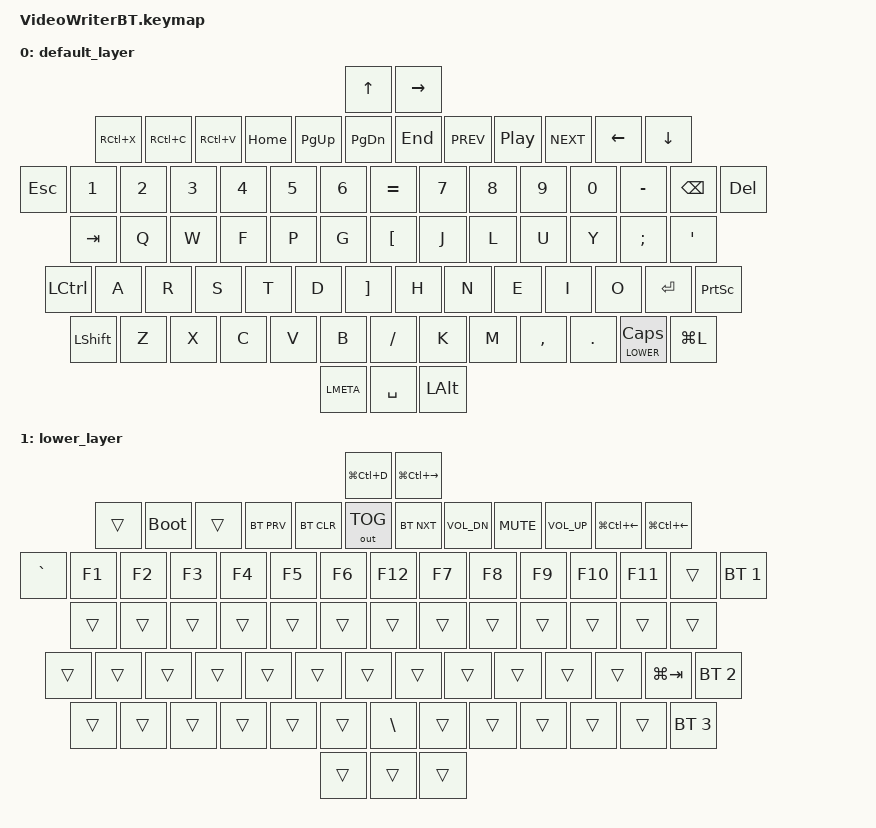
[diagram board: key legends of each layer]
/*
 * Copyright (c) 2020 The ZMK Contributors
 *
 * SPDX-License-Identifier: MIT
 */

#include <behaviors.dtsi>
#include <dt-bindings/zmk/keys.h>
#include <dt-bindings/zmk/bt.h>
#include <dt-bindings/zmk/outputs.h>

#define DEFAULT 0
#define LOWER   1

/ {
	keymap {
		compatible = "zmk,keymap";

		default_layer {
			bindings = <
																&kp UP   &kp RIGHT
			 &kp RC(X) &kp RC(C) &kp RC(V) 	&kp HOME &kp PG_UP &kp PG_DN &kp END 	&kp C_PREV &kp C_PP &kp C_NEXT  &kp LEFT 	 &kp DOWN 											               
			&kp ESC   &kp N1    &kp N2   &kp N3    &kp N4    &kp N5    &kp N6    &kp EQUAL  &kp N7    &kp N8    &kp N9   &kp N0    &kp MINUS &kp BSPC   	&kp DEL
			&kp TAB   &kp Q  &kp W &kp F    &kp P  &kp G  		&kp LBKT	 &kp J    &kp L    &kp U    &kp Y    &kp SEMI  &kp SQT
			&kp LCTRL   &kp A     &kp R   &kp S    &kp T    &kp D     &kp RBKT     &kp H     &kp N    &kp E      &kp I     &kp O    &kp ENTER 		&kp PSCRN
			&kp LSHFT   &kp Z    &kp X    &kp C     &kp V     &kp B     &kp FSLH     &kp K      &kp M     &kp COMMA     &kp DOT    &lt LOWER CAPS		&kp LG(L)
									 &kp LMETA &kp SPACE    &kp LALT
	
			>;
		};

		lower_layer {
			bindings = <
																		&kp LG(LC(D)) &kp LG(LC(RIGHT))
	                &trans  &bootloader &trans 	&bt BT_PRV &bt BT_CLR &out OUT_TOG &bt BT_NXT  	&kp C_VOL_DN &kp C_MUTE &kp C_VOL_UP   &kp LG(LC(LEFT))  &kp LG(LC(LEFT))
			&kp GRAVE   &kp F1    &kp F2   &kp F3    &kp F4    &kp F5    &kp F6    &kp F12  &kp F7    &kp F8    &kp F9   &kp F10    &kp F11 &trans	&bt BT_SEL 1   
			&trans &trans &trans &trans    &trans &trans &trans &trans    &trans &trans &trans &trans  &trans
			&trans &trans &trans &trans   &trans &trans &trans &trans    &trans &trans &trans  &trans    &kp LG(TAB)				&bt BT_SEL 2
			&trans &trans &trans &trans   &trans &trans &kp BSLH &trans     &trans &trans &trans &trans						&bt BT_SEL 3
									&trans &trans     &trans
			
			>;
		};
	};
};
